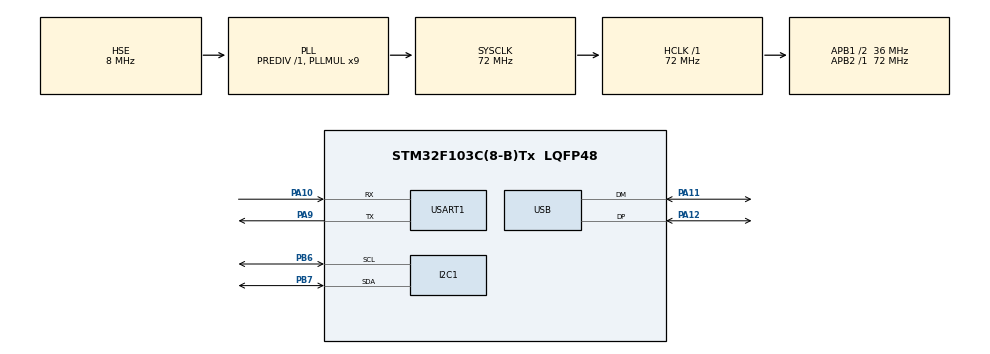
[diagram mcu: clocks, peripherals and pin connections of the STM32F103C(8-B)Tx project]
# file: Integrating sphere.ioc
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Mcu.Family=STM32F1
Mcu.Name=STM32F103C(8-B)Tx
Mcu.Package=LQFP48
NVIC.PriorityGroup=NVIC_PRIORITYGROUP_4
NVIC.USB_LP_CAN1_RX0_IRQn=true\:0\:0\:false\:false\:true\:false\:true\:true
PA10.Mode=Asynchronous
PA10.Signal=USART1_RX
PA11.Mode=Device
PA11.Signal=USB_DM
PA12.Mode=Device
PA12.Signal=USB_DP
PA13.Mode=Serial_Wire
PA13.Signal=SYS_JTMS-SWDIO
PA14.Mode=Serial_Wire
PA14.Signal=SYS_JTCK-SWCLK
PA9.Mode=Asynchronous
PA9.Signal=USART1_TX
PB6.Mode=I2C
PB6.Signal=I2C1_SCL
PB7.Mode=I2C
PB7.Signal=I2C1_SDA
PD0-OSC_IN.Mode=HSE-External-Oscillator
PD0-OSC_IN.Signal=RCC_OSC_IN
PD1-OSC_OUT.Mode=HSE-External-Oscillator
PD1-OSC_OUT.Signal=RCC_OSC_OUT
ProjectManager.HeapSize=0x200
ProjectManager.StackSize=0x400
ProjectManager.TargetToolchain=STM32CubeIDE
RCC.AHBFreq_Value=72000000
RCC.APB1CLKDivider=RCC_HCLK_DIV2
RCC.APB1Freq_Value=36000000
RCC.APB1TimFreq_Value=72000000
RCC.APB2Freq_Value=72000000
RCC.APB2TimFreq_Value=72000000
RCC.HCLKFreq_Value=72000000
RCC.PLLMUL=RCC_PLL_MUL9
RCC.PLLSourceVirtual=RCC_PLLSOURCE_HSE
RCC.SYSCLKFreq_VALUE=72000000
RCC.SYSCLKSource=RCC_SYSCLKSOURCE_PLLCLK
RCC.USBFreq_Value=48000000
RCC.USBPrescaler=RCC_USBCLKSOURCE_PLL_DIV1_5
USART1.VirtualMode=VM_ASYNC
USB_DEVICE.CLASS_NAME_FS=CDC
USB_DEVICE.VirtualMode=Cdc
USB_DEVICE.VirtualModeFS=Cdc_FS
VP_USB_DEVICE_VS_USB_DEVICE_CDC_FS.Mode=CDC_FS
board=custom

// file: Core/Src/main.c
/* USER CODE BEGIN Header */
/**
  ******************************************************************************
  * @file           : main.c
  * @brief          : Main program body - VEML7700 Ambient Light Sensor
  ******************************************************************************
  */
/* USER CODE END Header */
#include "main.h"
#include "usb_device.h"

/* USER CODE BEGIN Includes */
#include "usbd_cdc_if.h"
#include <stdio.h>
#include <string.h>
/* USER CODE END Includes */

/* USER CODE BEGIN PD */
#define VEML7700_ADDR          (0x10 << 1) // 0x20 in 8-bit HAL format
#define VEML7700_REG_ALS_CONF  0x00        // ALS Configuration Register
#define VEML7700_REG_ALS_DATA  0x04        // ALS Output Data Register
#define VEML7700_REG_WHITE     0x05        // White Channel Data Register
/* USER CODE END PD */

I2C_HandleTypeDef hi2c1;
UART_HandleTypeDef huart1;

/* USER CODE BEGIN PV */
uint16_t raw_als = 0;
float lux = 0.0f;
char msg_buffer[128];
/* USER CODE END PV */

void SystemClock_Config(void);
static void MX_GPIO_Init(void);
static void MX_I2C1_Init(void);
static void MX_USART1_UART_Init(void);
/* USER CODE BEGIN PFP */
HAL_StatusTypeDef VEML7700_Init(void);
float VEML7700_Read_Lux(void);
void Send_Output(char *str);
/* USER CODE END PFP */

/* USER CODE BEGIN 0 */

/* -------------------------------------------------------------------------- */
/* Helper to send text over both USB CDC and USART1                           */
/* -------------------------------------------------------------------------- */
void Send_Output(char *str)
{
    uint16_t len = (uint16_t)strlen(str);

    // Send via USB CDC (Virtual COM Port)
    CDC_Transmit_FS((uint8_t *)str, len);

    // Also send via Hardware UART1 (PA9)
    HAL_UART_Transmit(&huart1, (uint8_t *)str, len, 100);
}

/* -------------------------------------------------------------------------- */
/* VEML7700 Initialization (Gain: 1x, Integration Time: 100ms, Power ON)     */
/* -------------------------------------------------------------------------- */
HAL_StatusTypeDef VEML7700_Init(void)
{
    // Register 0x00: Bit 0 = 0 (Power ON), Bits 9:6 = 0000 (100ms), Bits 12:11 = 00 (Gain 1x)
    uint8_t config_data[2] = {0x00, 0x00};

    HAL_StatusTypeDef status = HAL_I2C_Mem_Write(
        &hi2c1,
        VEML7700_ADDR,
        VEML7700_REG_ALS_CONF,
        I2C_MEMADD_SIZE_8BIT,
        config_data,
        2,
        HAL_MAX_DELAY
    );

    HAL_Delay(10); // Sensor power-up time
    return status;
}

/* -------------------------------------------------------------------------- */
/* Read Ambient Light Sensor Register and Convert to Lux                      */
/* -------------------------------------------------------------------------- */
float VEML7700_Read_Lux(void)
{
    uint8_t buffer[2] = {0};

    HAL_StatusTypeDef status = HAL_I2C_Mem_Read(
        &hi2c1,
        VEML7700_ADDR,
        VEML7700_REG_ALS_DATA,
        I2C_MEMADD_SIZE_8BIT,
        buffer,
        2,
        HAL_MAX_DELAY
    );

    if (status != HAL_OK)
    {
        return -1.0f; // Communication error
    }

    // 16-bit word format (LSB in buffer[0], MSB in buffer[1])
    raw_als = (uint16_t)((buffer[1] << 8) | buffer[0]);

    // For Gain = 1x and Integration Time = 100ms: Resolution = 0.0576 lx/count
    return (float)raw_als * 0.0576f;
}
/* USER CODE END 0 */

int main(void)
{

  /* MCU Configuration--------------------------------------------------------*/

  /* Reset of all peripherals, Initializes the Flash interface and the Systick. */
  HAL_Init();

  /* Configure the system clock */
  SystemClock_Config();

  /* Initialize all configured peripherals */
  MX_GPIO_Init();
  MX_I2C1_Init();
  MX_USART1_UART_Init();

  /* Force USB Re-enumeration (helps PC detect USB device reliably) */
  GPIO_InitTypeDef GPIO_InitStruct = {0};
  GPIO_InitStruct.Pin = GPIO_PIN_12;
  GPIO_InitStruct.Mode = GPIO_MODE_OUTPUT_PP;
  GPIO_InitStruct.Speed = GPIO_SPEED_FREQ_LOW;
  HAL_GPIO_Init(GPIOA, &GPIO_InitStruct);
  HAL_GPIO_WritePin(GPIOA, GPIO_PIN_12, GPIO_PIN_RESET);
  HAL_Delay(10);

  /* Initialize USB Device */
  MX_USB_DEVICE_Init();

  /* USER CODE BEGIN 2 */
  HAL_Delay(1500); // Give the PC USB Host time to enumerate the Virtual COM Port

  // Send startup greeting
  Send_Output("\r\n========================================\r\n");
  Send_Output(" STM32F103C8T6 + VEML7700 Ambient Light \r\n");
  Send_Output("========================================\r\n");

  // Initialize VEML7700
  if (VEML7700_Init() != HAL_OK)
  {
      Send_Output("[ERROR] VEML7700 initialization failed!\r\n");
      Send_Output("Please check I2C wiring (PB6=SCL, PB7=SDA) & pull-ups.\r\n");
      Error_Handler();
  }
  else
  {
      Send_Output("[OK] VEML7700 initialized successfully.\r\n\r\n");
  }
  /* USER CODE END 2 */

  /* Infinite loop */
  /* USER CODE BEGIN WHILE */
  while (1)
  {
      // 1. Read lux from sensor
      lux = VEML7700_Read_Lux();

      // 2. Format output string (Separating integer and fractional avoids GCC float issues)
      if (lux < 0.0f)
      {
          snprintf(msg_buffer, sizeof(msg_buffer), "[I2C ERROR] Failed to read sensor!\r\n");
      }
      else
      {
          int lux_int = (int)lux;
          int lux_dec = (int)((lux - (float)lux_int) * 100.0f);
          if (lux_dec < 0) lux_dec = -lux_dec;

          snprintf(
              msg_buffer,
              sizeof(msg_buffer),
              "Raw ALS: %-5u | Lux: %d.%02d lx\r\n",
              raw_als,
              lux_int,
              lux_dec
          );
      }

      // 3. Transmit data to PC
      Send_Output(msg_buffer);

      // 4. Delay 500ms between updates
      HAL_Delay(500);

    /* USER CODE END WHILE */
  }
}

void SystemClock_Config(void)
{
  RCC_OscInitTypeDef RCC_OscInitStruct = {0};
  RCC_ClkInitTypeDef RCC_ClkInitStruct = {0};
  RCC_PeriphCLKInitTypeDef PeriphClkInit = {0};

  /** Initializes the RCC Oscillators according to the specified parameters
  * in the RCC_OscInitTypeDef structure.
  */
  RCC_OscInitStruct.OscillatorType = RCC_OSCILLATORTYPE_HSE;
  RCC_OscInitStruct.HSEState = RCC_HSE_ON;
  RCC_OscInitStruct.HSEPredivValue = RCC_HSE_PREDIV_DIV1;
  RCC_OscInitStruct.HSIState = RCC_HSI_ON;
  RCC_OscInitStruct.PLL.PLLState = RCC_PLL_ON;
  RCC_OscInitStruct.PLL.PLLSource = RCC_PLLSOURCE_HSE;
  RCC_OscInitStruct.PLL.PLLMUL = RCC_PLL_MUL9;
  if (HAL_RCC_OscConfig(&RCC_OscInitStruct) != HAL_OK)
  {
    Error_Handler();
  }

  /** Initializes the CPU, AHB and APB buses clocks
  */
  RCC_ClkInitStruct.ClockType = RCC_CLOCKTYPE_HCLK|RCC_CLOCKTYPE_SYSCLK
                              |RCC_CLOCKTYPE_PCLK1|RCC_CLOCKTYPE_PCLK2;
  RCC_ClkInitStruct.SYSCLKSource = RCC_SYSCLKSOURCE_PLLCLK;
  RCC_ClkInitStruct.AHBCLKDivider = RCC_SYSCLK_DIV1;
  RCC_ClkInitStruct.APB1CLKDivider = RCC_HCLK_DIV2;
  RCC_ClkInitStruct.APB2CLKDivider = RCC_HCLK_DIV1;

  if (HAL_RCC_ClockConfig(&RCC_ClkInitStruct, FLASH_LATENCY_2) != HAL_OK)
  {
    Error_Handler();
  }
  PeriphClkInit.PeriphClockSelection = RCC_PERIPHCLK_USB;
  PeriphClkInit.UsbClockSelection = RCC_USBCLKSOURCE_PLL_DIV1_5;
  if (HAL_RCCEx_PeriphCLKConfig(&PeriphClkInit) != HAL_OK)
  {
    Error_Handler();
  }
}

static void MX_I2C1_Init(void)
{

  hi2c1.Instance = I2C1;
  hi2c1.Init.ClockSpeed = 100000;
  hi2c1.Init.DutyCycle = I2C_DUTYCYCLE_2;
  hi2c1.Init.OwnAddress1 = 0;
  hi2c1.Init.AddressingMode = I2C_ADDRESSINGMODE_7BIT;
  hi2c1.Init.DualAddressMode = I2C_DUALADDRESS_DISABLE;
  hi2c1.Init.OwnAddress2 = 0;
  hi2c1.Init.GeneralCallMode = I2C_GENERALCALL_DISABLE;
  hi2c1.Init.NoStretchMode = I2C_NOSTRETCH_DISABLE;
  if (HAL_I2C_Init(&hi2c1) != HAL_OK)
  {
    Error_Handler();
  }
}

static void MX_USART1_UART_Init(void)
{

  huart1.Instance = USART1;
  huart1.Init.BaudRate = 115200;
  huart1.Init.WordLength = UART_WORDLENGTH_8B;
  huart1.Init.StopBits = UART_STOPBITS_1;
  huart1.Init.Parity = UART_PARITY_NONE;
  huart1.Init.Mode = UART_MODE_TX_RX;
  huart1.Init.HwFlowCtl = UART_HWCONTROL_NONE;
  huart1.Init.OverSampling = UART_OVERSAMPLING_16;
  if (HAL_UART_Init(&huart1) != HAL_OK)
  {
    Error_Handler();
  }
}

static void MX_GPIO_Init(void)
{

  /* GPIO Ports Clock Enable */
  __HAL_RCC_GPIOD_CLK_ENABLE();
  __HAL_RCC_GPIOA_CLK_ENABLE();
  __HAL_RCC_GPIOB_CLK_ENABLE();

}

void Error_Handler(void)
{
  __disable_irq();
  while (1)
  {
  }
}
